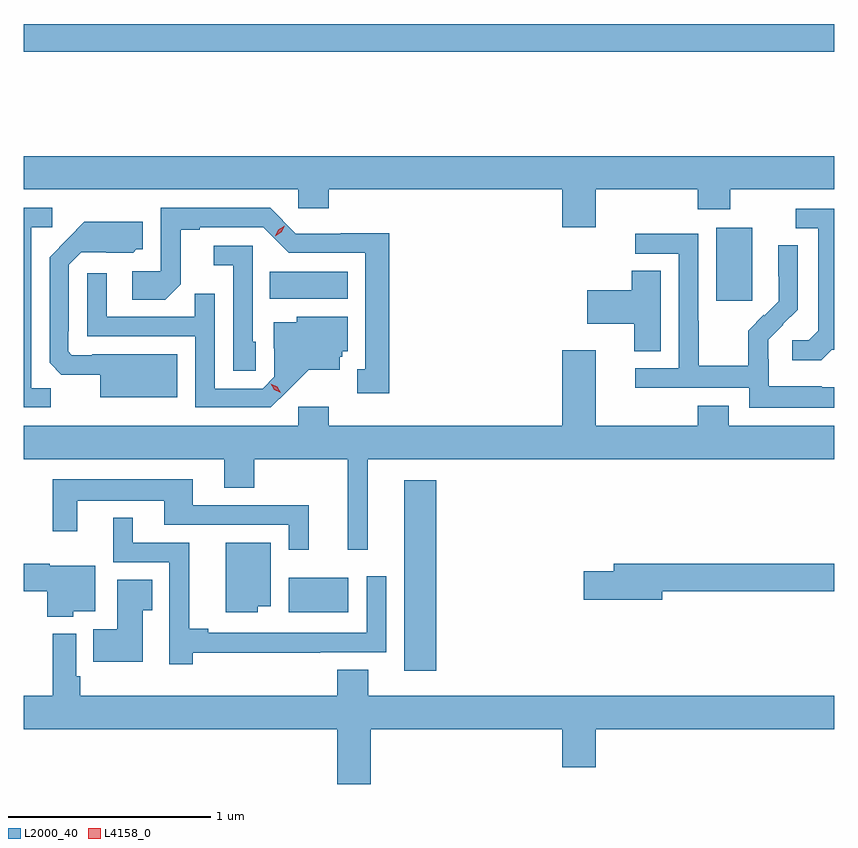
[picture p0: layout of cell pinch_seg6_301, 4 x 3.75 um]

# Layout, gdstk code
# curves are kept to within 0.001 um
import gdstk
lib = gdstk.Library(unit=1e-6, precision=1e-09)
def R(c, l, rs):  # rectangles x0, y0, x1, y1
    for r in rs: c.add(gdstk.rectangle(r[:2], r[2:], *l))
def P(c, l, *ps):  # polygons
    for p in ps: c.add(gdstk.Polygon(p, *l))
L2000_40 = (2000, 40)
L4158_0 = (4158, 0)

pinch_seg6_301 = lib.new_cell('pinch_seg6_301')
R(pinch_seg6_301, L2000_40, [(667.724,955.617,667.883,956.557), (667.154,955.904,667.447,956.074), (669.263,957.441,669.442,957.802), (667.06,957.452,667.444,957.586), (665.846,958.672,669.846,958.808)])
P(pinch_seg6_301, L2000_40, [(668.668,957.992),(669.173,957.992),(669.173,957.893),(669.333,957.893),(669.333,957.992),(669.846,957.992),(669.846,958.156),(665.846,958.156),(665.846,957.992),(667.2,957.992),(667.2,957.899),(667.352,957.899),(667.352,957.992),(668.504,957.992),(668.504,957.804),(668.668,957.804)],
  [(665.979,957.011),(665.883,957.011),(665.883,957.804),(665.986,957.804),(665.986,957.9),(665.846,957.9),(665.846,956.916),(665.979,956.916)],
  [(667.651,957.776),(667.41,957.776),(667.41,957.774),(667.188,957.774),(667.062,957.9),(666.522,957.9),(666.522,957.588),(666.381,957.588),(666.381,957.448),(666.545,957.448),(666.621,957.524),(666.621,957.792),(666.715,957.792),(666.715,957.804),(667.029,957.804),(667.155,957.678),(667.532,957.678),(667.532,957.105),(667.493,957.105),(667.493,956.985),(667.651,956.985)],
  [(669.834,957.201),(669.846,957.201),(669.846,957.897),(669.657,957.897),(669.657,957.801),(669.767,957.801),(669.767,957.293),(669.72,957.246),(669.639,957.246),(669.639,957.149),(669.782,957.149)],
  [(666.604,957.178),(666.184,957.178),(666.184,957.174),(666.084,957.174),(666.066,957.192),(666.066,957.292),(666.069,957.292),(666.069,957.621),(666.129,957.681),(666.386,957.68),(666.402,957.696),(666.433,957.696),(666.433,957.832),(666.145,957.832),(665.973,957.658),(665.973,957.136),(666.032,957.077),(666.224,957.077),(666.224,956.966),(666.604,956.966)],
  [(669.846,957.015),(669.785,957.015),(669.785,957.019),(669.522,957.019),(669.522,957.153),(669.52,957.153),(669.52,957.25),(669.666,957.398),(669.666,957.716),(669.57,957.716),(669.57,957.562),(669.572,957.562),(669.572,957.44),(669.501,957.369),(669.498,957.372),(669.421,957.295),(669.421,957.121),(669.177,957.121),(669.177,957.344),(669.174,957.344),(669.174,957.774),(668.865,957.774),(668.865,957.675),(669.078,957.675),(669.078,957.108),(668.865,957.108),(668.865,957.012),(669.426,957.012),(669.426,956.915),(669.846,956.915)],
  [(666.99,957.24),(666.975,957.24),(666.975,957.714),(666.783,957.714),(666.783,957.617),(666.879,957.617),(666.879,957.097),(666.99,957.097)],
  [(668.989,957.59),(668.846,957.59),(668.846,957.495),(668.628,957.495),(668.628,957.329),(668.858,957.329),(668.858,957.193),(668.989,957.193)],
  [(667.15,956.999),(667.253,957.101),(667.405,957.101),(667.405,957.165),(667.419,957.165),(667.419,957.192),(667.444,957.192),(667.444,957.364),(667.194,957.364),(667.194,957.337),(667.079,957.337),(667.079,957.208),(667.083,957.208),(667.083,957.066),(667.026,957.009),(666.789,957.009),(666.789,957.476),(666.691,957.476),(666.691,957.363),(666.255,957.363),(666.255,957.577),(666.159,957.577),(666.159,957.267),(666.693,957.267),(666.693,956.916),(667.066,956.916)],
  [(667.544,956.66),(669.846,956.66),(669.846,956.824),(669.325,956.824),(669.325,956.923),(669.173,956.923),(669.173,956.824),(668.668,956.824),(668.668,957.199),(668.504,957.199),(668.504,956.824),(667.352,956.824),(667.352,956.92),(667.2,956.92),(667.2,956.824),(665.846,956.824),(665.846,956.66),(666.836,956.66),(666.836,956.518),(666.984,956.518),(666.984,956.66),(667.445,956.66),(667.445,956.214),(667.544,956.214)],
  [(667.253,956.433),(666.679,956.433),(666.679,956.56),(665.988,956.56),(665.988,956.304),(666.109,956.304),(666.109,956.456),(666.539,956.456),(666.539,956.337),(667.155,956.337),(667.155,956.214),(667.253,956.214)],
  [(666.68,955.706),(667.31,955.706),(667.31,955.707),(667.635,955.707),(667.635,956.083),(667.539,956.083),(667.539,955.803),(666.757,955.803),(666.757,955.823),(666.662,955.823),(666.662,956.247),(666.385,956.247),(666.385,956.371),(666.287,956.371),(666.287,956.151),(666.564,956.151),(666.564,955.647),(666.68,955.647)],
  [(667,955.934),(667.066,955.934),(667.066,956.248),(666.842,956.248),(666.842,955.904),(667,955.904)],
  [(668.998,956.008),(669.846,956.008),(669.846,956.144),(668.759,956.144),(668.759,956.108),(668.61,956.108),(668.61,955.966),(668.998,955.966)],
  [(666.09,955.91),(666.199,955.91),(666.199,956.134),(665.973,956.134),(665.973,956.144),(665.846,956.144),(665.846,956.008),(665.962,956.008),(665.962,955.883),(666.09,955.883)],
  [(666.433,955.915),(666.479,955.915),(666.479,956.066),(666.308,956.066),(666.308,955.822),(666.19,955.822),(666.19,955.661),(666.433,955.661)],
  [(667.558,955.328),(668.504,955.328),(668.504,955.14),(668.668,955.14),(668.668,955.328),(669.846,955.328),(669.846,955.492),(667.546,955.492),(667.546,955.622),(667.394,955.622),(667.394,955.492),(666.125,955.492),(666.125,955.588),(666.105,955.588),(666.105,955.798),(665.989,955.798),(665.989,955.492),(665.846,955.492),(665.846,955.328),(667.394,955.328),(667.394,955.057),(667.558,955.057)])
P(pinch_seg6_301, L4158_0, [(667.086,957.761),(667.086,957.761),(667.103,957.793),(667.135,957.812),(667.135,957.812),(667.135,957.812),(667.118,957.78),(667.086,957.761)],
  [(667.114,956.987),(667.083,957.002),(667.065,957.032),(667.065,957.032),(667.065,957.032),(667.096,957.017),(667.114,956.988),(667.114,956.987)])

lib.write_gds('pinch_seg6_301.gds')
